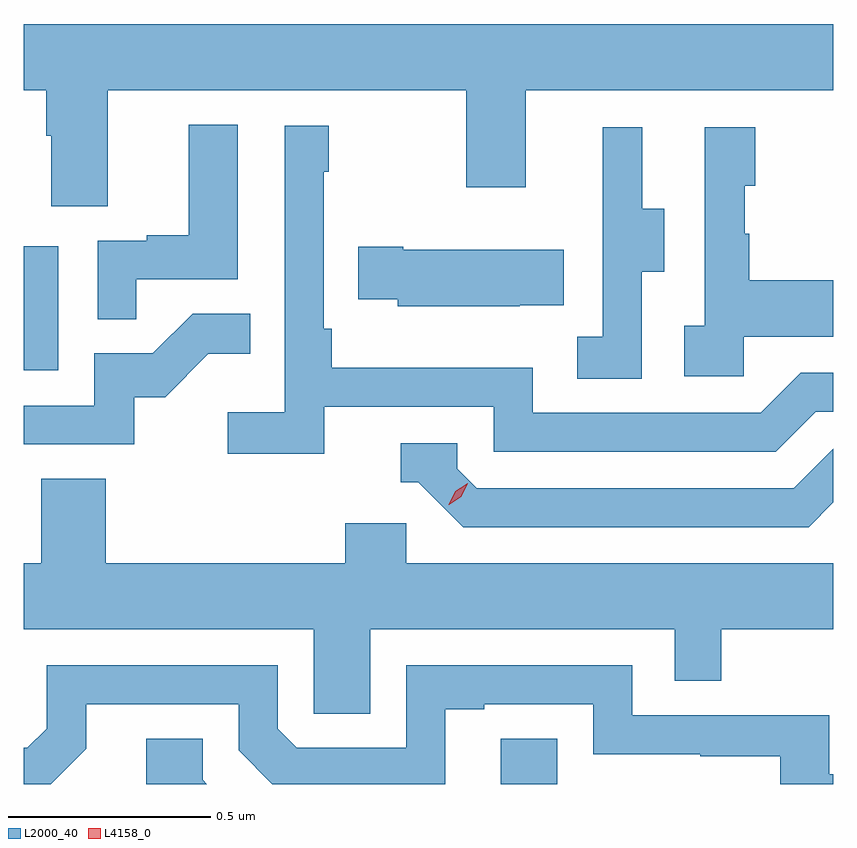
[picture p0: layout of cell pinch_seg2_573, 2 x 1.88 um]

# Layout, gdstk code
import gdstk
lib = gdstk.Library(unit=1e-6, precision=1e-09)
def R(c, l, rs):  # rectangles x0, y0, x1, y1
    for r in rs: c.add(gdstk.rectangle(r[:2], r[2:], *l))
def P(c, l, *ps):  # polygons
    for p in ps: c.add(gdstk.Polygon(p, *l))
L2000_40 = (2000, 40)
L4158_0 = (4158, 0)

pinch_seg2_573 = lib.new_cell('pinch_seg2_573')
R(pinch_seg2_573, L2000_40, [(1101.863,623.278,1102.003,623.39), (1100.685,624.3,1100.77,624.607)])
P(pinch_seg2_573, L2000_40, [(1100.893,624.992),(1101.778,624.992),(1101.778,624.753),(1101.925,624.753),(1101.925,624.992),(1102.685,624.992),(1102.685,625.156),(1100.685,625.156),(1100.685,624.992),(1100.741,624.992),(1100.741,624.88),(1100.753,624.88),(1100.753,624.706),(1100.893,624.706)],
  [(1100.963,624.525),(1101.214,624.525),(1101.214,624.907),(1101.092,624.907),(1101.092,624.634),(1100.989,624.634),(1100.989,624.621),(1100.868,624.621),(1100.868,624.427),(1100.963,624.427)],
  [(1101.428,624.21),(1101.846,624.21),(1101.846,624.099),(1102.543,624.099),(1102.642,624.198),(1102.685,624.198),(1102.685,624.294),(1102.605,624.294),(1102.506,624.195),(1101.942,624.195),(1101.942,624.307),(1101.446,624.307),(1101.446,624.403),(1101.426,624.403),(1101.426,624.791),(1101.439,624.791),(1101.439,624.904),(1101.33,624.904),(1101.33,624.196),(1101.189,624.196),(1101.189,624.094),(1101.428,624.094)],
  [(1102.464,624.383),(1102.685,624.383),(1102.685,624.523),(1102.477,624.523),(1102.477,624.638),(1102.467,624.638),(1102.467,624.756),(1102.492,624.756),(1102.492,624.901),(1102.368,624.901),(1102.368,624.41),(1102.317,624.41),(1102.317,624.285),(1102.464,624.285)],
  [(1102.212,624.544),(1102.267,624.544),(1102.267,624.699),(1102.213,624.699),(1102.213,624.901),(1102.115,624.901),(1102.115,624.687),(1102.116,624.687),(1102.116,624.383),(1102.053,624.383),(1102.053,624.28),(1102.212,624.28)],
  [(1101.911,624.461),(1102.019,624.461),(1102.019,624.598),(1101.622,624.598),(1101.622,624.606),(1101.511,624.606),(1101.511,624.476),(1101.609,624.476),(1101.609,624.458),(1101.911,624.458)],
  [(1100.958,624.234),(1101.034,624.234),(1101.141,624.341),(1101.245,624.341),(1101.245,624.44),(1101.102,624.44),(1101.004,624.342),(1100.859,624.342),(1100.859,624.213),(1100.685,624.213),(1100.685,624.117),(1100.958,624.117)],
  [(1102.685,623.974),(1102.685,624.107),(1102.587,624.009),(1101.804,624.009),(1101.756,624.057),(1101.756,624.12),(1101.617,624.12),(1101.617,624.024),(1101.66,624.024),(1101.771,623.913),(1102.624,623.913)],
  [(1101.541,623.66),(1102.293,623.66),(1102.293,623.533),(1102.409,623.533),(1102.409,623.66),(1102.685,623.66),(1102.685,623.824),(1101.63,623.824),(1101.63,623.922),(1101.479,623.922),(1101.479,623.824),(1100.888,623.824),(1100.888,624.032),(1100.728,624.032),(1100.728,623.824),(1100.685,623.824),(1100.685,623.66),(1101.402,623.66),(1101.402,623.452),(1101.541,623.452)],
  [(1100.839,623.365),(1100.839,623.475),(1101.216,623.475),(1101.216,623.361),(1101.299,623.278),(1101.727,623.278),(1101.727,623.463),(1101.823,623.463),(1101.823,623.475),(1102.092,623.475),(1102.092,623.352),(1102.357,623.352),(1102.357,623.347),(1102.554,623.347),(1102.554,623.278),(1102.685,623.278),(1102.685,623.302),(1102.675,623.302),(1102.675,623.448),(1102.188,623.448),(1102.188,623.571),(1101.63,623.571),(1101.63,623.367),(1101.36,623.367),(1101.312,623.415),(1101.312,623.571),(1100.742,623.571),(1100.742,623.415),(1100.694,623.367),(1100.685,623.367),(1100.685,623.278),(1100.752,623.278)],
  [(1101.127,623.288),(1101.127,623.39),(1100.987,623.39),(1100.987,623.278),(1101.137,623.278)])
P(pinch_seg2_573, L4158_0, [(1101.735,623.968),(1101.735,623.968),(1101.751,624.001),(1101.782,624.021),(1101.782,624.021),(1101.782,624.021),(1101.766,623.988),(1101.736,623.968)])

lib.write_gds('pinch_seg2_573.gds')
